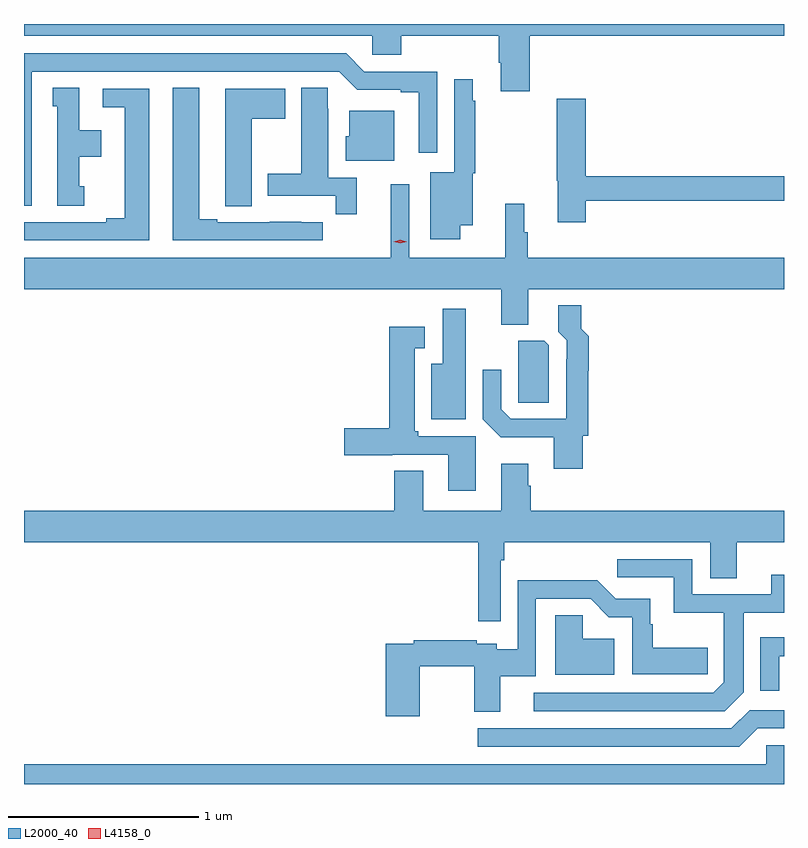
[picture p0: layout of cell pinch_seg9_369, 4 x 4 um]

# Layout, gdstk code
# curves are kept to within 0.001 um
import gdstk
lib = gdstk.Library(unit=1e-6, precision=1e-09)
def P(c, l, *ps):  # polygons
    for p in ps: c.add(gdstk.Polygon(p, *l))
L2000_40 = (2000, 40)
L4158_0 = (4158, 0)

pinch_seg9_369 = lib.new_cell('pinch_seg9_369')
P(pinch_seg9_369, L2000_40, [(267.323,1239.044),(268.66,1239.044),(268.66,1239.107),(264.66,1239.107),(264.66,1239.044),(266.493,1239.044),(266.493,1238.946),(266.645,1238.946),(266.645,1239.044),(267.158,1239.044),(267.158,1238.902),(267.17,1238.902),(267.17,1238.754),(267.323,1238.754)],
  [(264.7,1238.856),(266.319,1238.856),(266.415,1238.76),(266.642,1238.76),(266.642,1238.748),(266.738,1238.748),(266.738,1238.43),(266.835,1238.43),(266.835,1238.856),(266.451,1238.856),(266.355,1238.952),(264.66,1238.952),(264.66,1238.151),(264.7,1238.151)],
  [(266.956,1238.048),(267.022,1238.048),(267.022,1238.322),(267.034,1238.322),(267.034,1238.702),(267.022,1238.702),(267.022,1238.815),(266.925,1238.815),(266.925,1238.326),(266.798,1238.326),(266.798,1237.974),(266.956,1237.974)],
  [(264.976,1238.253),(264.952,1238.253),(264.952,1238.408),(265.066,1238.408),(265.066,1238.548),(264.952,1238.548),(264.952,1238.771),(264.812,1238.771),(264.812,1238.673),(264.836,1238.673),(264.836,1238.151),(264.976,1238.151)],
  [(266.411,1238.298),(266.26,1238.298),(266.26,1238.66),(266.259,1238.66),(266.259,1238.771),(266.12,1238.771),(266.12,1238.319),(265.943,1238.319),(265.943,1238.202),(266.302,1238.202),(266.302,1238.106),(266.411,1238.106)],
  [(266.233,1238.064),(266.12,1238.064),(266.12,1238.065),(265.954,1238.065),(265.954,1238.064),(265.678,1238.064),(265.678,1238.079),(265.582,1238.079),(265.582,1238.771),(265.442,1238.771),(265.442,1237.968),(266.233,1237.968)],
  [(265.858,1238.608),(266.035,1238.608),(266.035,1238.767),(265.718,1238.767),(265.718,1238.257),(265.719,1238.257),(265.719,1238.149),(265.858,1238.149)],
  [(265.318,1238.766),(265.074,1238.766),(265.074,1238.67),(265.19,1238.67),(265.19,1238.084),(265.094,1238.084),(265.094,1238.064),(264.66,1238.064),(264.66,1237.968),(265.318,1237.968)],
  [(267.617,1238.178),(268.66,1238.178),(268.66,1238.306),(267.617,1238.306),(267.617,1238.713),(267.463,1238.713),(267.463,1238.283),(267.47,1238.283),(267.47,1238.064),(267.617,1238.064)],
  [(266.608,1238.65),(266.372,1238.65),(266.372,1238.517),(266.354,1238.517),(266.354,1238.387),(266.608,1238.387)],
  [(267.313,1237.712),(268.66,1237.712),(268.66,1237.876),(267.311,1237.876),(267.311,1238.01),(267.292,1238.01),(267.292,1238.161),(267.193,1238.161),(267.193,1237.876),(266.688,1237.876),(266.688,1238.263),(266.591,1238.263),(266.591,1237.876),(264.66,1237.876),(264.66,1237.712),(267.173,1237.712),(267.173,1237.525),(267.313,1237.525)],
  [(267.602,1236.939),(267.629,1236.939),(267.629,1237.282),(267.632,1237.282),(267.632,1237.464),(267.593,1237.503),(267.593,1237.627),(267.473,1237.627),(267.473,1237.486),(267.516,1237.443),(267.516,1237.343),(267.513,1237.343),(267.513,1237.029),(267.222,1237.029),(267.171,1237.08),(267.171,1237.288),(267.075,1237.288),(267.075,1237.026),(267.169,1236.932),(267.449,1236.932),(267.449,1236.765),(267.602,1236.765)],
  [(266.986,1237.609),(266.864,1237.609),(266.864,1237.318),(266.804,1237.318),(266.804,1237.028),(266.986,1237.028)],
  [(267.037,1236.936),(266.734,1236.936),(266.734,1236.963),(266.716,1236.963),(266.716,1237.4),(266.77,1237.4),(266.77,1237.513),(266.582,1237.513),(266.582,1236.98),(266.346,1236.98),(266.346,1236.838),(266.598,1236.838),(266.598,1236.84),(266.894,1236.84),(266.894,1236.651),(267.037,1236.651)],
  [(267.423,1237.416),(267.399,1237.44),(267.26,1237.44),(267.26,1237.225),(267.261,1237.225),(267.261,1237.114),(267.423,1237.114)],
  [(267.169,1236.284),(267.187,1236.284),(267.187,1236.38),(268.271,1236.38),(268.271,1236.19),(268.411,1236.19),(268.411,1236.38),(268.66,1236.38),(268.66,1236.544),(267.326,1236.544),(267.326,1236.677),(267.313,1236.677),(267.313,1236.793),(267.173,1236.793),(267.173,1236.544),(266.761,1236.544),(266.761,1236.755),(266.609,1236.755),(266.609,1236.544),(264.66,1236.544),(264.66,1236.38),(267.051,1236.38),(267.051,1235.964),(267.169,1235.964)],
  [(268.447,1235.59),(268.447,1236.009),(268.66,1236.009),(268.66,1236.208),(268.592,1236.208),(268.592,1236.105),(268.176,1236.105),(268.176,1236.291),(267.783,1236.291),(267.783,1236.196),(268.08,1236.196),(268.08,1236.008),(268.344,1236.008),(268.344,1235.643),(268.287,1235.586),(267.342,1235.586),(267.342,1235.49),(268.347,1235.49)],
  [(266.742,1235.728),(267.031,1235.728),(267.031,1235.487),(267.166,1235.487),(267.166,1235.675),(267.354,1235.675),(267.354,1236.081),(267.642,1236.081),(267.738,1235.985),(267.861,1235.985),(267.861,1235.684),(268.258,1235.685),(268.258,1235.824),(267.97,1235.824),(267.97,1235.949),(267.957,1235.949),(267.957,1236.081),(267.774,1236.081),(267.677,1236.179),(267.258,1236.179),(267.258,1235.815),(267.148,1235.815),(267.148,1235.844),(267.044,1235.844),(267.044,1235.864),(266.71,1235.864),(266.71,1235.844),(266.564,1235.844),(266.564,1235.463),(266.742,1235.463)],
  [(267.766,1235.872),(267.602,1235.872),(267.602,1235.995),(267.455,1235.995),(267.455,1235.681),(267.766,1235.681)],
  [(268.635,1235.779),(268.66,1235.779),(268.66,1235.88),(268.536,1235.88),(268.536,1235.598),(268.635,1235.598)],
  [(268.521,1235.4),(268.66,1235.4),(268.66,1235.496),(268.479,1235.496),(268.383,1235.4),(267.048,1235.4),(267.048,1235.304),(268.425,1235.304)],
  [(268.66,1235.31),(268.566,1235.31),(268.566,1235.212),(264.66,1235.212),(264.66,1235.107),(268.66,1235.107)])
P(pinch_seg9_369, L4158_0, [(266.64,1237.952),(266.605,1237.962),(266.605,1237.962),(266.605,1237.962),(266.64,1237.972),(266.675,1237.962),(266.675,1237.962),(266.675,1237.962)])

lib.write_gds('pinch_seg9_369.gds')
